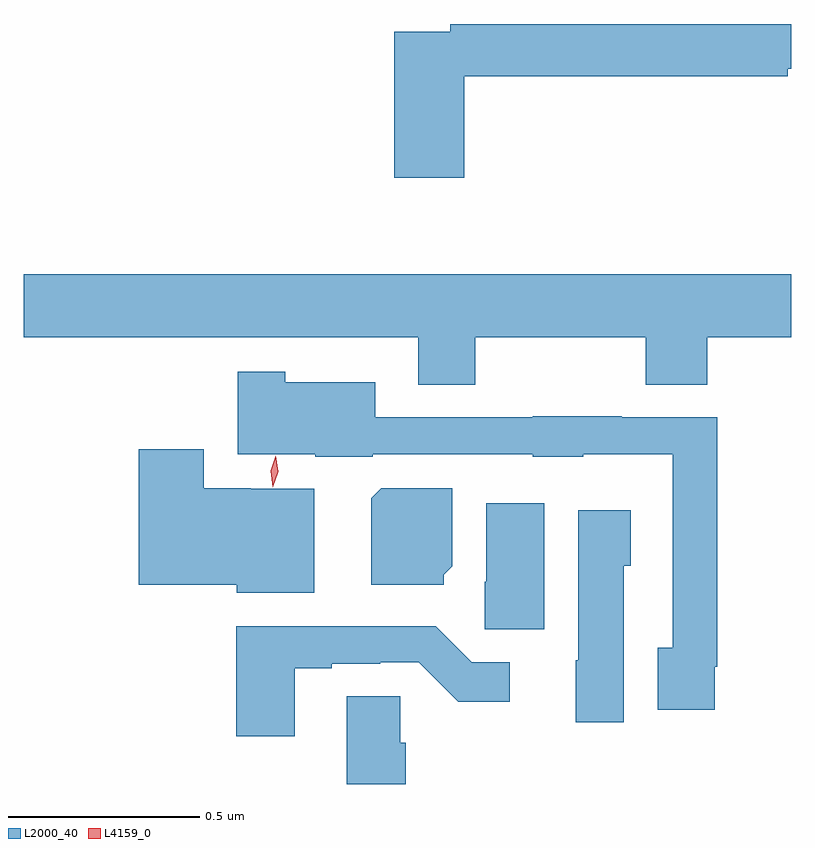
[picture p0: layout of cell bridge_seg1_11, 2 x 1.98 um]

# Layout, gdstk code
import gdstk
lib = gdstk.Library(unit=1e-6, precision=1e-09)
def P(c, l, *ps):  # polygons
    for p in ps: c.add(gdstk.Polygon(p, *l))
L2000_40 = (2000, 40)
L4159_0 = (4159, 0)

bridge_seg1_11 = lib.new_cell('bridge_seg1_11')
P(bridge_seg1_11, L2000_40, [(852.383,529.768),(853.226,529.768),(853.226,529.788),(853.235,529.788),(853.235,529.904),(852.346,529.904),(852.346,529.884),(852.2,529.884),(852.2,529.503),(852.383,529.503)],
  [(852.411,529.088),(852.856,529.088),(852.856,528.964),(853.016,528.964),(853.016,529.088),(853.235,529.088),(853.235,529.252),(851.235,529.252),(851.235,529.088),(852.263,529.088),(852.263,528.964),(852.411,528.964)],
  [(853.036,528.229),(853.043,528.229),(853.043,528.879),(852.793,528.879),(852.793,528.881),(852.561,528.881),(852.561,528.879),(852.151,528.879),(852.151,528.97),(851.916,528.97),(851.916,528.997),(851.792,528.997),(851.792,528.782),(851.994,528.782),(851.994,528.776),(852.144,528.776),(852.144,528.783),(852.561,528.783),(852.561,528.776),(852.693,528.776),(852.693,528.782),(852.927,528.782),(852.927,528.278),(852.887,528.278),(852.887,528.117),(853.036,528.117)],
  [(851.992,528.692),(851.826,528.692),(851.826,528.694),(851.704,528.694),(851.704,528.796),(851.534,528.796),(851.534,528.443),(851.79,528.443),(851.79,528.422),(851.992,528.422)],
  [(852.33,528.468),(852.352,528.49),(852.352,528.694),(852.166,528.694),(852.14,528.668),(852.14,528.443),(852.33,528.443)],
  [(852.592,528.655),(852.44,528.655),(852.44,528.45),(852.436,528.45),(852.436,528.327),(852.592,528.327)],
  [(852.799,528.492),(852.817,528.492),(852.817,528.637),(852.68,528.637),(852.68,528.246),(852.674,528.246),(852.674,528.084),(852.799,528.084)],
  [(851.941,528.225),(852.037,528.225),(852.037,528.237),(852.164,528.237),(852.164,528.24),(852.264,528.24),(852.367,528.138),(852.502,528.138),(852.502,528.24),(852.402,528.24),(852.308,528.334),(851.789,528.334),(851.789,528.048),(851.941,528.048)],
  [(852.23,528.03),(852.216,528.03),(852.216,528.152),(852.077,528.152),(852.077,527.923),(852.23,527.923)])
P(bridge_seg1_11, L4159_0, [(851.884,528.697),(851.884,528.697),(851.878,528.739),(851.891,528.778),(851.891,528.779),(851.892,528.778),(851.898,528.737),(851.884,528.697)])

lib.write_gds('bridge_seg1_11.gds')
